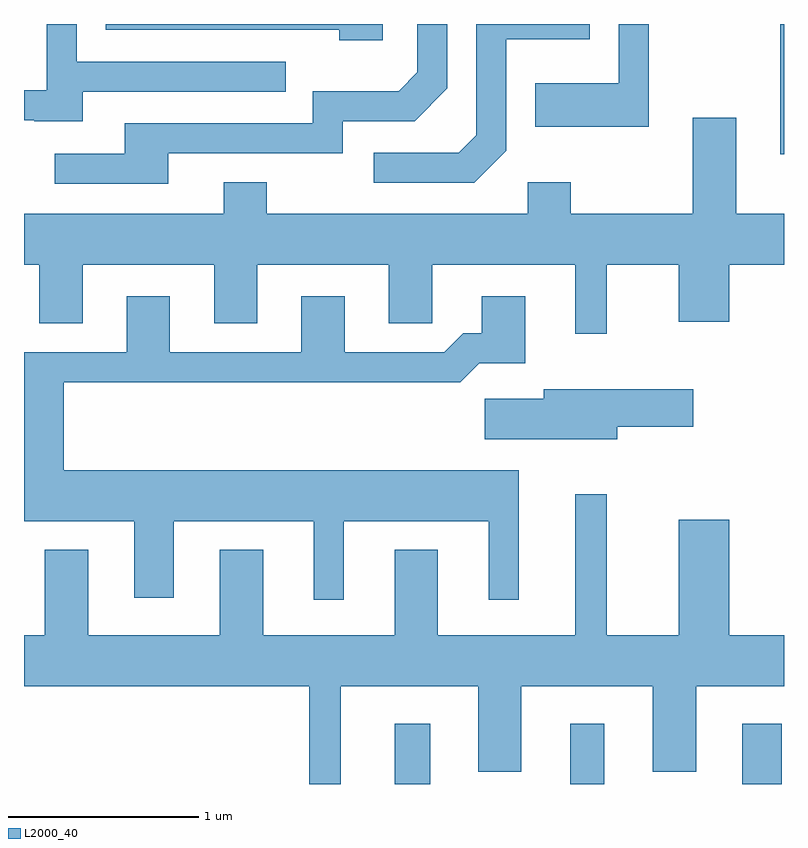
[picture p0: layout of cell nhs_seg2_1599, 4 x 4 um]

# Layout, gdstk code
import gdstk
lib = gdstk.Library(unit=1e-6, precision=1e-09)
def R(c, l, rs):  # rectangles x0, y0, x1, y1
    for r in rs: c.add(gdstk.rectangle(r[:2], r[2:], *l))
def P(c, l, *ps):  # polygons
    for p in ps: c.add(gdstk.Polygon(p, *l))
L2000_40 = (2000, 40)

nhs_seg2_1599 = lib.new_cell('nhs_seg2_1599')
R(nhs_seg2_1599, L2000_40, [(233.561,1047.802,233.749,1048.119), (234.486,1047.802,234.664,1048.119), (235.391,1047.802,235.599,1048.119), (235.591,1051.116,235.611,1051.802)])
P(nhs_seg2_1599, L2000_40, [(231.919,1051.446),(232.988,1051.446),(232.988,1051.604),(231.889,1051.604),(231.889,1051.802),(231.731,1051.802),(231.731,1051.454),(231.611,1051.454),(231.611,1051.296),(231.665,1051.296),(231.665,1051.291),(231.919,1051.291)],
  [(234.149,1051.134),(234.149,1051.721),(234.589,1051.721),(234.589,1051.802),(233.991,1051.802),(233.991,1051.217),(233.899,1051.124),(233.453,1051.124),(233.453,1050.966),(233.982,1050.966)],
  [(234.899,1051.802),(234.741,1051.802),(234.741,1051.489),(234.301,1051.489),(234.301,1051.261),(234.899,1051.261)],
  [(232.369,1051.121),(233.289,1051.121),(233.289,1051.291),(233.667,1051.291),(233.839,1051.464),(233.839,1051.802),(233.681,1051.802),(233.681,1051.547),(233.584,1051.449),(233.131,1051.449),(233.131,1051.279),(232.141,1051.279),(232.141,1051.119),(231.773,1051.119),(231.773,1050.961),(232.369,1050.961)],
  [(233.499,1051.802),(232.041,1051.802),(232.041,1051.771),(233.271,1051.771),(233.271,1051.716),(233.499,1051.716)],
  [(234.679,1050.536),(235.056,1050.536),(235.056,1050.236),(235.324,1050.236),(235.324,1050.536),(235.611,1050.536),(235.611,1050.804),(235.359,1050.804),(235.359,1051.309),(235.131,1051.309),(235.131,1050.804),(234.489,1050.804),(234.489,1050.969),(234.261,1050.969),(234.261,1050.804),(232.889,1050.804),(232.889,1050.969),(232.661,1050.969),(232.661,1050.804),(231.611,1050.804),(231.611,1050.536),(231.691,1050.536),(231.691,1050.226),(231.919,1050.226),(231.919,1050.536),(232.611,1050.536),(232.611,1050.226),(232.839,1050.226),(232.839,1050.536),(233.531,1050.536),(233.531,1050.226),(233.759,1050.226),(233.759,1050.536),(234.511,1050.536),(234.511,1050.173),(234.679,1050.173)],
  [(233.294,1049.186),(234.056,1049.186),(234.056,1048.773),(234.214,1048.773),(234.214,1049.454),(231.819,1049.454),(231.819,1049.916),(233.907,1049.916),(234.007,1050.016),(234.249,1050.016),(234.249,1050.369),(234.021,1050.369),(234.021,1050.174),(233.924,1050.174),(233.824,1050.074),(233.299,1050.074),(233.299,1050.369),(233.071,1050.369),(233.071,1050.074),(232.379,1050.074),(232.379,1050.369),(232.151,1050.369),(232.151,1050.074),(231.611,1050.074),(231.611,1049.186),(232.191,1049.186),(232.191,1048.781),(232.399,1048.781),(232.399,1049.186),(233.136,1049.186),(233.136,1048.773),(233.294,1048.773)],
  [(234.734,1049.681),(235.134,1049.681),(235.134,1049.879),(234.346,1049.879),(234.346,1049.829),(234.036,1049.829),(234.036,1049.616),(234.734,1049.616)],
  [(233.279,1048.316),(234.001,1048.316),(234.001,1047.866),(234.229,1047.866),(234.229,1048.316),(234.921,1048.316),(234.921,1047.866),(235.149,1047.866),(235.149,1048.316),(235.611,1048.316),(235.611,1048.584),(235.324,1048.584),(235.324,1049.194),(235.056,1049.194),(235.056,1048.584),(234.679,1048.584),(234.679,1049.328),(234.511,1049.328),(234.511,1048.584),(233.789,1048.584),(233.789,1049.034),(233.561,1049.034),(233.561,1048.584),(232.869,1048.584),(232.869,1049.034),(232.641,1049.034),(232.641,1048.584),(231.949,1048.584),(231.949,1049.034),(231.721,1049.034),(231.721,1048.584),(231.611,1048.584),(231.611,1048.316),(233.111,1048.316),(233.111,1047.802),(233.279,1047.802)])

lib.write_gds('nhs_seg2_1599.gds')
